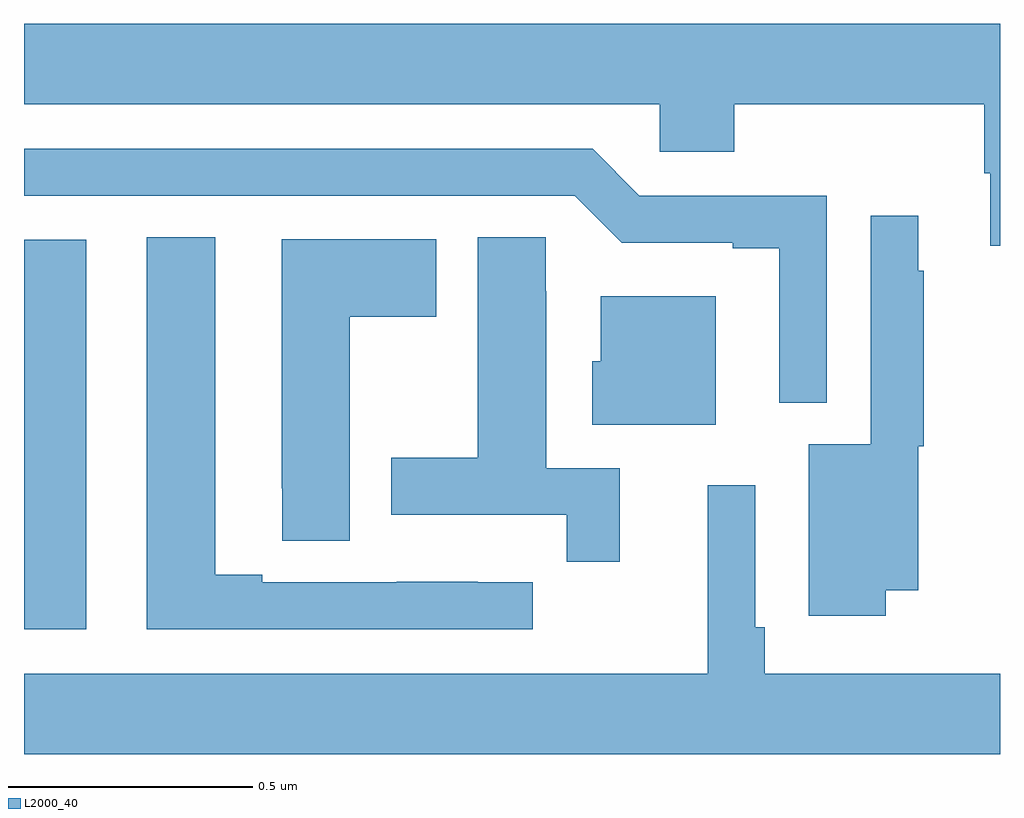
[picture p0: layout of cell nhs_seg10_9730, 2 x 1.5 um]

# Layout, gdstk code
import gdstk
lib = gdstk.Library(unit=1e-6, precision=1e-09)
def R(c, l, rs):  # rectangles x0, y0, x1, y1
    for r in rs: c.add(gdstk.rectangle(r[:2], r[2:], *l))
def P(c, l, *ps):  # polygons
    for p in ps: c.add(gdstk.Polygon(p, *l))
L2000_40 = (2000, 40)

nhs_seg10_9730 = lib.new_cell('nhs_seg10_9730')
R(nhs_seg10_9730, L2000_40, [(233,1307.232,233.128,1308.03)])
P(nhs_seg10_9730, L2000_40, [(235,1308.472),(233,1308.472),(233,1308.308),(234.303,1308.308),(234.303,1308.21),(234.455,1308.21),(234.455,1308.308),(234.968,1308.308),(234.968,1308.166),(234.98,1308.166),(234.98,1308.018),(235,1308.018)],
  [(234.645,1308.12),(234.261,1308.12),(234.165,1308.216),(233,1308.216),(233,1308.12),(234.129,1308.12),(234.225,1308.024),(234.452,1308.024),(234.452,1308.012),(234.548,1308.012),(234.548,1307.696),(234.645,1307.696)],
  [(234.766,1307.312),(234.832,1307.312),(234.832,1307.607),(234.844,1307.607),(234.844,1307.966),(234.832,1307.966),(234.832,1308.079),(234.735,1308.079),(234.735,1307.611),(234.608,1307.611),(234.608,1307.259),(234.766,1307.259)],
  [(234.043,1307.328),(233.93,1307.328),(233.93,1307.329),(233.764,1307.329),(233.764,1307.328),(233.488,1307.328),(233.488,1307.343),(233.392,1307.343),(233.392,1308.035),(233.252,1308.035),(233.252,1307.232),(234.043,1307.232)],
  [(234.221,1307.562),(234.07,1307.562),(234.07,1307.924),(234.069,1307.924),(234.069,1308.035),(233.93,1308.035),(233.93,1307.583),(233.753,1307.583),(233.753,1307.466),(234.112,1307.466),(234.112,1307.37),(234.221,1307.37)],
  [(233.668,1307.872),(233.845,1307.872),(233.845,1308.031),(233.528,1308.031),(233.528,1307.521),(233.529,1307.521),(233.529,1307.413),(233.668,1307.413)],
  [(234.418,1307.914),(234.182,1307.914),(234.182,1307.781),(234.164,1307.781),(234.164,1307.651),(234.418,1307.651)],
  [(235,1307.14),(234.518,1307.14),(234.518,1307.236),(234.498,1307.236),(234.498,1307.527),(234.401,1307.527),(234.401,1307.14),(233,1307.14),(233,1306.976),(235,1306.976)])

lib.write_gds('nhs_seg10_9730.gds')
